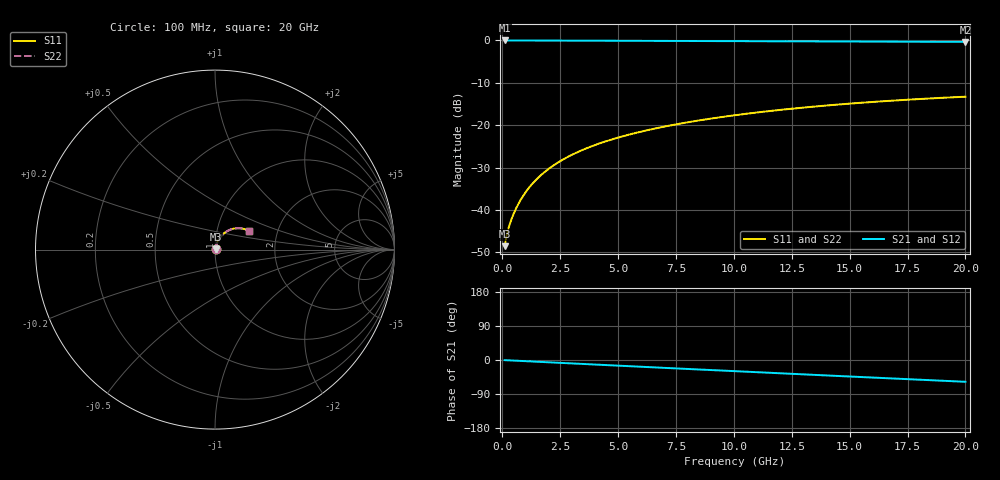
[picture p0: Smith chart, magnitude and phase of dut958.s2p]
! Touchstone file exported from HFSS 2026.1.0
!  File:  C:/ffzhzh/LocalFiles/Ansys_Project_Files/temp_train_BSMRDL_958_1783172382_18472.aedt
!  Generated:  09:41:01 PM Jul  4, 2026
!  Design:  BSMRDL
!  Project:  temp_train_BSMRDL_958_1783172382_18472
! Variables:
!  h_bsmrdl = 4.67um
!  h_ox = 20um
!  h_rdl = 5um
!  h_sub = 80um
!  h_tmrdl = 5um
!  h_tsv = 80um
!  h_via = 3um
!  l_bsmrdl = 999.47um
!  l_sub = 1399.47um
!  l_tmrdl = 200um
!  m_sub = 200um
!  pitch = 38.47um
!  r_tsv = 6um
!  s_tmrdl = 10um
!  w_bsmrdl = 27.14um
!  w_sub = 500um
!  w_tmrdl = 12um
!  x_tsv_center1 = 206um
!  x_tsv_center2 = 1232.61um
!  x_tsv_center3 = 1444.61um
!  x_tsv_center4 = 2471.22um
!  x_tsv_center5 = 2683.22um
!  x_tsv_center6 = 3709.83um
# GHz S MA R 50.000000
! Terminal data exported
! Port[1] = BSM_RDL1_1_T1
! Port[2] = BSM_RDL1_1_T2
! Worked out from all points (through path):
!   200 points, 100 MHz to 20 GHz, reference 50 ohm
!   highest |S21| = -0.03 dB at 100 MHz (marker M1); lowest = -0.4 dB at 20 GHz (marker M2)
!   group delay of S21, straight-line fit = 7.96 ps
!   lowest |S11| = -48.5 dB at 100 MHz (marker M3), VSWR 1.01, Z = 50.3 + j0.205 ohm
!   |S11| at or under -10 dB: start of sweep to end of sweep
!   |S22| runs from -48.5 to -13.3 dB; largest |S21 - S12| = 4.6e-15
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0.1  0.003741 33.0  0.9969 -0.3  0.9969 -0.3  0.003741 33.0
! Gamma 0 0 0 0
! Port Impedance 50 0 50 0
0.2  0.005161 46.1  0.9965 -0.6  0.9965 -0.6  0.005161 46.1
0.3  0.006513 52.9  0.9961 -1.0  0.9961 -1.0  0.006513 52.9
0.4  0.007824 57.6  0.9959 -1.3  0.9959 -1.3  0.007824 57.6
0.5  0.009143 61.2  0.9958 -1.6  0.9958 -1.6  0.009143 61.2
0.6  0.01049 64.0  0.9957 -1.9  0.9957 -1.9  0.01049 64.0
0.8  0.01325 67.9  0.9955 -2.5  0.9955 -2.5  0.01325 67.9
1  0.01608 70.3  0.9953 -3.1  0.9953 -3.1  0.01608 70.3
1.2  0.01895 71.8  0.9951 -3.7  0.9951 -3.7  0.01895 71.8
1.4  0.02184 72.7  0.9949 -4.3  0.9949 -4.3  0.02184 72.7
1.7  0.02617 73.4  0.9945 -5.2  0.9945 -5.2  0.02617 73.4
2.2  0.03335 73.5  0.9938 -6.7  0.9938 -6.7  0.03335 73.5
2.8  0.04183 72.8  0.9927 -8.5  0.9927 -8.5  0.04183 72.8
3.5  0.05149 71.4  0.9914 -10.5  0.9914 -10.5  0.05149 71.4
4.2  0.06088 69.8  0.99 -12.6  0.99 -12.6  0.06088 69.8
5  0.07131 67.8  0.9884 -14.9  0.9884 -14.9  0.07131 67.8
6.8  0.09372 63.2  0.9847 -20.2  0.9847 -20.2  0.09373 63.2
8.3  0.1114 59.3  0.9817 -24.5  0.9817 -24.5  0.1114 59.3
10.1  0.1315 54.6  0.978 -29.7  0.978 -29.7  0.1315 54.6
13.4  0.1649 45.9  0.9712 -39.1  0.9712 -39.1  0.165 45.9
16.7  0.1934 37.2  0.9648 -48.3  0.9648 -48.3  0.1935 37.2
20  0.2165 28.5  0.9589 -57.5  0.9589 -57.5  0.2165 28.4
